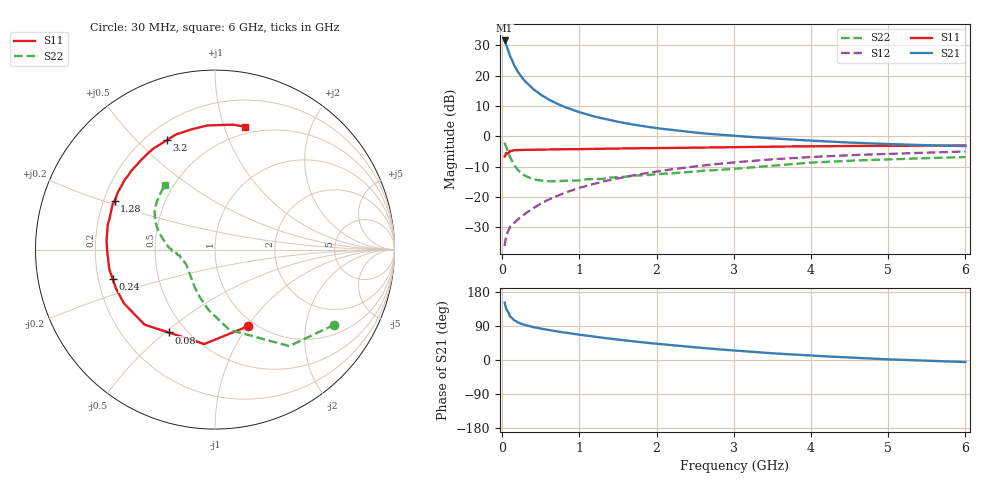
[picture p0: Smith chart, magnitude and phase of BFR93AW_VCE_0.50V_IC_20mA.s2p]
! Infineon Technologies  Discrete & RF Semiconductors
! BFR93AW
! VCE = 0.50 V,  IC =  20 mA
! Common Emitter S-Parameters:  Nov 2015
# GHz  S  MA  R  50
!  f  S11  S21  S12  S22
! GHz  MAG  ANG  MAG  ANG  MAG  ANG  MAG  ANG
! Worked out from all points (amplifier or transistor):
!   206 points, 30 MHz to 6 GHz, reference 50 ohm
!   highest |S21| = 31.5 dB at 30 MHz (marker M1)
!   |S21| within 3 dB of that: start of sweep to 72.7 MHz
!   unconditionally stable (mu >= 1): 396.2 MHz to end of sweep
!   at 200 MHz: K = 0.77, MSG = 24.4 dB, |S12| = -27.5 dB
!   at 1.56 GHz: K = 1.10, MAG = 7.1 dB, |S12| = -13.5 dB
!   at 6 GHz: K = 1.01, MAG = 0.1 dB, |S12| = -5.0 dB
!   S11 on the Smith chart (normalised r, x): 30 MHz: 0.92, -1.01; 80 MHz: 0.40, -0.51; 240 MHz: 0.26, -0.13; 1.28 GHz: 0.24, +0.22; 3.2 GHz: 0.28, +0.62; 6 GHz: 0.43, +1.18
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0.03  0.4651 -66.7  37.78 151.4  0.0155 65.5  0.7855 -32.2
0.05  0.5294 -96.5  32.17 134.8  0.023 58.4  0.6786 -52.4
0.08  0.5293 -119.3  25.12 124.9  0.0283 52.7  0.5287 -66.1
0.1  0.5733 -133.1  21.05 114.9  0.032 50.0  0.4546 -79.8
0.15  0.5891 -149.4  15 105.4  0.0372 50.5  0.3396 -95.8
0.2  0.5929 -158.6  11.63 99.3  0.0424 53.0  0.2802 -107.3
0.24  0.5931 -164.0  9.841 96.2  0.047 54.2  0.2499 -114.5
0.26  0.5947 -166.1  9.099 94.6  0.0492 55.1  0.2388 -117.9
0.3  0.599 -169.5  7.906 91.9  0.0534 57.2  0.2227 -123.5
0.4  0.5993 -176.5  5.978 86.8  0.0652 60.5  0.1963 -135.3
0.5  0.6028 178.5  4.818 82.6  0.0777 62.5  0.1865 -144.1
0.6  0.6066 174.7  4.038 79.1  0.0904 63.8  0.1817 -150.0
0.7  0.6079 170.8  3.49 75.6  0.103 64.5  0.1812 -154.5
0.8  0.6131 167.4  3.063 72.5  0.1156 64.4  0.1856 -159.1
1.04  0.6161 160.4  2.403 65.7  0.1462 63.9  0.1908 -165.3
1.28  0.6219 154.2  1.991 59.3  0.1762 62.3  0.1983 -169.9
2.02  0.6403 137.0  1.351 42.4  0.2646 55.4  0.2393 -178.4
3.1  0.6635 115.6  0.998 23.7  0.3803 43.0  0.2971 168.2
3.2  0.6661 113.8  0.978 22.3  0.3894 41.7  0.3045 166.7
4.1  0.6845 99.0  0.834 10.5  0.462 30.9  0.3737 153.4
5.1  0.6965 86.1  0.738 1.0  0.5185 20.1  0.4204 140.1
6  0.7048 76.1  0.689 -5.4  0.5614 11.7  0.4552 127.8
